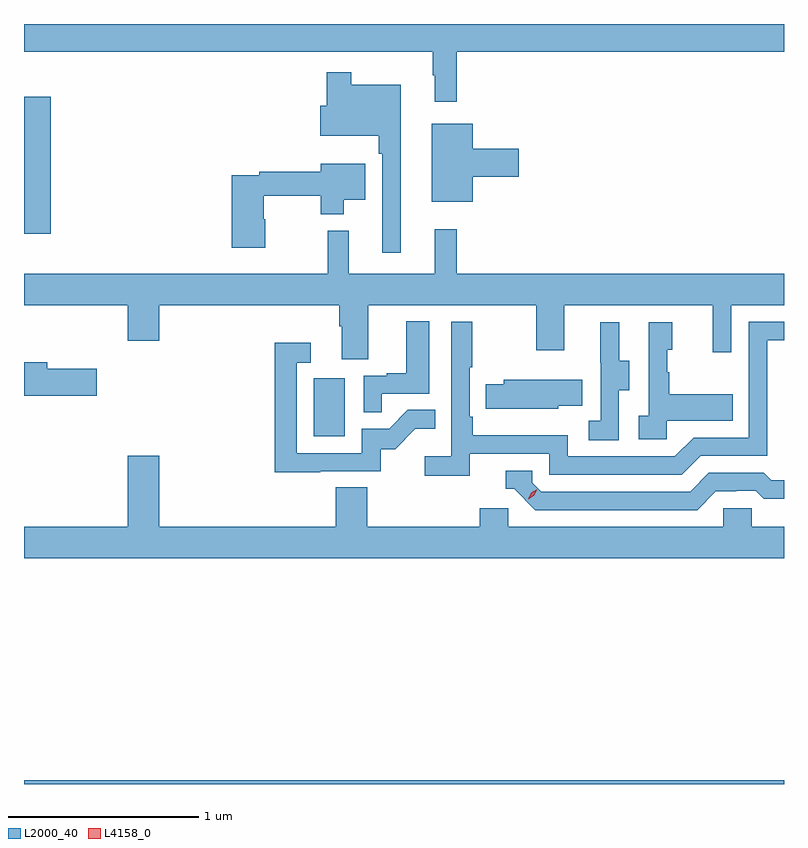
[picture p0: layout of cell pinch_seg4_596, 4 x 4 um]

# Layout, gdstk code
import gdstk
lib = gdstk.Library(unit=1e-6, precision=1e-09)
def R(c, l, rs):  # rectangles x0, y0, x1, y1
    for r in rs: c.add(gdstk.rectangle(r[:2], r[2:], *l))
def P(c, l, *ps):  # polygons
    for p in ps: c.add(gdstk.Polygon(p, *l))
L2000_40 = (2000, 40)
L4158_0 = (4158, 0)

pinch_seg4_596 = lib.new_cell('pinch_seg4_596')
R(pinch_seg4_596, L2000_40, [(1051.573,787.639,1055.573,787.66), (1053.098,789.468,1053.262,789.775), (1051.573,790.536,1051.714,791.257)])
P(pinch_seg4_596, L2000_40, [(1051.573,791.492),(1053.723,791.492),(1053.723,791.369),(1053.734,791.369),(1053.734,791.229),(1053.851,791.229),(1053.851,791.492),(1055.573,791.492),(1055.573,791.639),(1051.573,791.639)],
  [(1053.556,791.32),(1053.295,791.32),(1053.295,791.386),(1053.166,791.386),(1053.166,791.209),(1053.132,791.209),(1053.132,791.051),(1053.439,791.051),(1053.439,790.955),(1053.459,790.955),(1053.459,790.434),(1053.556,790.434)],
  [(1053.934,790.835),(1054.177,790.835),(1054.177,790.982),(1053.934,790.982),(1053.934,791.113),(1053.719,791.113),(1053.719,790.703),(1053.934,790.703)],
  [(1052.844,790.611),(1052.836,790.611),(1052.836,790.734),(1053.134,790.734),(1053.134,790.637),(1053.256,790.637),(1053.256,790.715),(1053.37,790.715),(1053.37,790.903),(1053.134,790.903),(1053.134,790.862),(1052.812,790.862),(1052.812,790.842),(1052.666,790.842),(1052.666,790.461),(1052.844,790.461)],
  [(1053.281,790.552),(1053.171,790.552),(1053.171,790.324),(1051.573,790.324),(1051.573,790.16),(1052.12,790.16),(1052.12,789.972),(1052.284,789.972),(1052.284,790.16),(1053.233,790.16),(1053.233,790.048),(1053.245,790.048),(1053.245,789.874),(1053.385,789.874),(1053.385,790.16),(1054.27,790.16),(1054.27,789.921),(1054.417,789.921),(1054.417,790.16),(1055.198,790.16),(1055.198,789.912),(1055.295,789.912),(1055.295,790.16),(1055.573,790.16),(1055.573,790.324),(1053.851,790.324),(1053.851,790.558),(1053.734,790.558),(1053.734,790.324),(1053.281,790.324)],
  [(1053.455,789.693),(1053.706,789.693),(1053.706,790.075),(1053.584,790.075),(1053.584,789.802),(1053.481,789.802),(1053.481,789.789),(1053.36,789.789),(1053.36,789.595),(1053.455,789.595)],
  [(1053.92,789.378),(1054.338,789.378),(1054.338,789.267),(1055.035,789.267),(1055.134,789.366),(1055.484,789.366),(1055.484,789.975),(1055.573,789.975),(1055.573,790.071),(1055.388,790.071),(1055.388,789.462),(1055.097,789.462),(1054.998,789.363),(1054.434,789.363),(1054.434,789.475),(1053.935,789.475),(1053.935,789.571),(1053.918,789.571),(1053.918,789.832),(1053.931,789.832),(1053.931,790.072),(1053.822,790.072),(1053.822,789.364),(1053.681,789.364),(1053.681,789.262),(1053.92,789.262)],
  [(1054.704,789.712),(1054.759,789.712),(1054.759,789.867),(1054.705,789.867),(1054.705,790.069),(1054.607,790.069),(1054.607,789.855),(1054.608,789.855),(1054.608,789.551),(1054.545,789.551),(1054.545,789.448),(1054.704,789.448)],
  [(1054.956,789.551),(1055.303,789.551),(1055.303,789.691),(1054.969,789.691),(1054.969,789.806),(1054.959,789.806),(1054.959,789.924),(1054.984,789.924),(1054.984,790.069),(1054.86,790.069),(1054.86,789.578),(1054.809,789.578),(1054.809,789.453),(1054.956,789.453)],
  [(1053.131,789.285),(1053.45,789.285),(1053.45,789.402),(1053.526,789.402),(1053.633,789.509),(1053.737,789.509),(1053.737,789.608),(1053.594,789.608),(1053.496,789.51),(1053.351,789.51),(1053.351,789.381),(1053.009,789.381),(1053.009,789.855),(1053.082,789.855),(1053.082,789.961),(1052.893,789.961),(1052.893,789.28),(1053.131,789.28)],
  [(1051.957,789.825),(1051.696,789.825),(1051.696,789.859),(1051.573,789.859),(1051.573,789.683),(1051.957,789.683)],
  [(1054.386,789.629),(1054.511,789.629),(1054.511,789.766),(1054.097,789.766),(1054.097,789.744),(1054.003,789.744),(1054.003,789.615),(1054.114,789.615),(1054.114,789.614),(1054.386,789.614)],
  [(1055.573,788.992),(1055.403,788.992),(1055.403,789.09),(1055.253,789.09),(1055.253,788.992),(1054.122,788.992),(1054.122,789.09),(1053.971,789.09),(1053.971,788.992),(1053.38,788.992),(1053.38,789.2),(1053.215,789.2),(1053.215,788.992),(1052.284,788.992),(1052.284,789.367),(1052.12,789.367),(1052.12,788.992),(1051.573,788.992),(1051.573,788.828),(1055.573,788.828)],
  [(1055.215,789.18),(1055.322,789.18),(1055.322,789.183),(1055.425,789.183),(1055.467,789.141),(1055.573,789.141),(1055.573,789.237),(1055.506,789.237),(1055.467,789.276),(1055.178,789.276),(1055.079,789.177),(1054.296,789.177),(1054.248,789.225),(1054.248,789.288),(1054.109,789.288),(1054.109,789.192),(1054.152,789.192),(1054.263,789.081),(1055.116,789.081)])
P(pinch_seg4_596, L4158_0, [(1054.226,789.138),(1054.226,789.139),(1054.242,789.171),(1054.273,789.19),(1054.273,789.19),(1054.273,789.19),(1054.257,789.157),(1054.226,789.138)])

lib.write_gds('pinch_seg4_596.gds')
